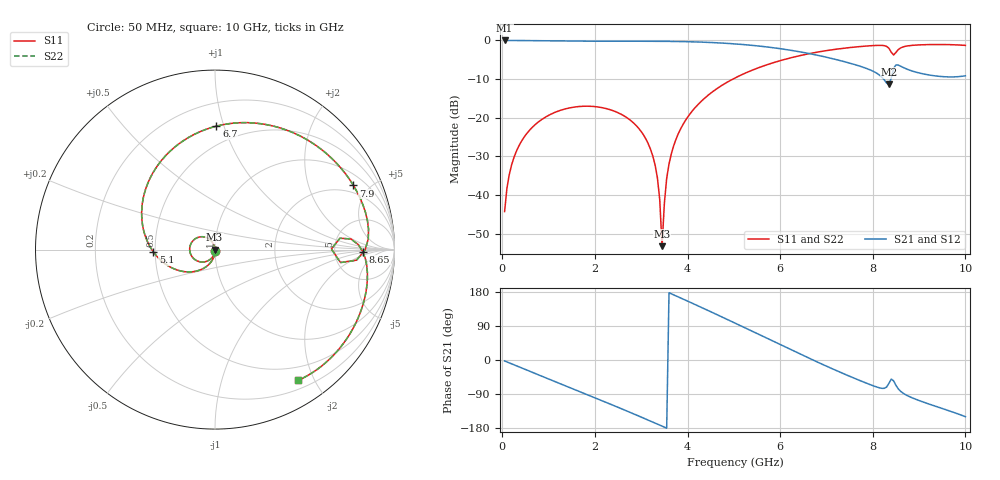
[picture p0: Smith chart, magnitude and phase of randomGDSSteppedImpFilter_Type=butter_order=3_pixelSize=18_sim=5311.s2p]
! freq	dB(S11)	phase(S11)	dB(S12)	phase(S12)
!  dB(S21)	phase(S21)	dB(S22)	phase(S22)
!S-par simulation data
#  GHz  S  DB  R 50
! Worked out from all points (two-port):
!   200 points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, 50 MHz to 10 GHz, reference 50 ohm
!   highest |S21| = 0.00 dB at 50 MHz (marker M1); lowest = -11.4 dB at 8.35 GHz (marker M2)
!   |S21| within 3 dB of the highest: start of sweep to 6.455 GHz
!   lowest |S11| = -53.2 dB at 3.45 GHz (marker M3), VSWR 1.00, Z = 49.8 + j0.000692 ohm
!   |S11| at or under -10 dB: start of sweep to 4.977 GHz
!   |S22| runs from -53.1 to -1.0 dB; largest |S21 - S12| = 0
!   S11 on the Smith chart (normalised r, x): 50 MHz: 1.00, -0.01; 5.1 GHz: 0.49, -0.01; 6.7 GHz: 0.36, +0.94; 7.9 GHz: 1.54, +3.97; 8.65 GHz: 10, -1; 10 GHz: 0.31, -1.78
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0.05  -44.24 -92.0  -0.00 -2.5  -0.00 -2.5  -44.24 -92.0
0.2  -32.24 -100.0  -0.01 -10.1  -0.01 -10.1  -32.24 -100.0
0.5  -24.52 -115.4  -0.03 -25.2  -0.03 -25.2  -24.52 -115.4
1.75  -17.01 -178.2  -0.19 -87.2  -0.19 -87.2  -17.01 -178.2
2.35  -17.98 151.7  -0.21 -117.3  -0.21 -117.3  -17.98 151.7
2.95  -22.80 121.0  -0.20 -148.0  -0.20 -148.0  -22.80 121.0
3.25  -29.89 105.5  -0.21 -163.8  -0.21 -163.8  -29.89 105.6
3.4  -41.20 98.6  -0.22 -171.8  -0.22 -171.8  -41.19 99.3
3.45  -53.20 179.8  -0.22 -174.5  -0.22 -174.5  -53.14 179.3
3.55  -35.67 -91.8  -0.23 -179.9  -0.23 -179.9  -35.67 -92.3
3.8  -24.14 -104.8  -0.27 166.5  -0.27 166.5  -24.14 -105.0
4.5  -13.63 -143.7  -0.52 127.5  -0.52 127.5  -13.63 -143.8
5.05  -9.55 -175.1  -0.91 96.0  -0.91 96.0  -9.55 -175.2
5.1  -9.26 -178.0  -0.96 93.1  -0.96 93.1  -9.26 -178.1
5.95  -5.40 132.5  -2.04 43.6  -2.04 43.6  -5.40 132.4
6.7  -3.25 89.3  -3.56 0.4  -3.56 0.4  -3.25 89.2
7.3  -2.12 56.3  -5.21 -32.5  -5.21 -32.5  -2.12 56.2
7.9  -1.41 24.8  -7.40 -62.9  -7.40 -62.9  -1.41 24.8
8.35  -2.04 -4.3  -11.39 -61.2  -11.39 -61.2  -2.05 -4.4
8.45  -3.76 0.3  -7.24 -55.1  -7.24 -55.1  -3.77 0.3
8.65  -1.69 -0.8  -6.95 -87.2  -6.95 -87.2  -1.69 -0.8
10  -1.28 -57.5  -9.13 -149.6  -9.13 -149.6  -1.28 -57.5
